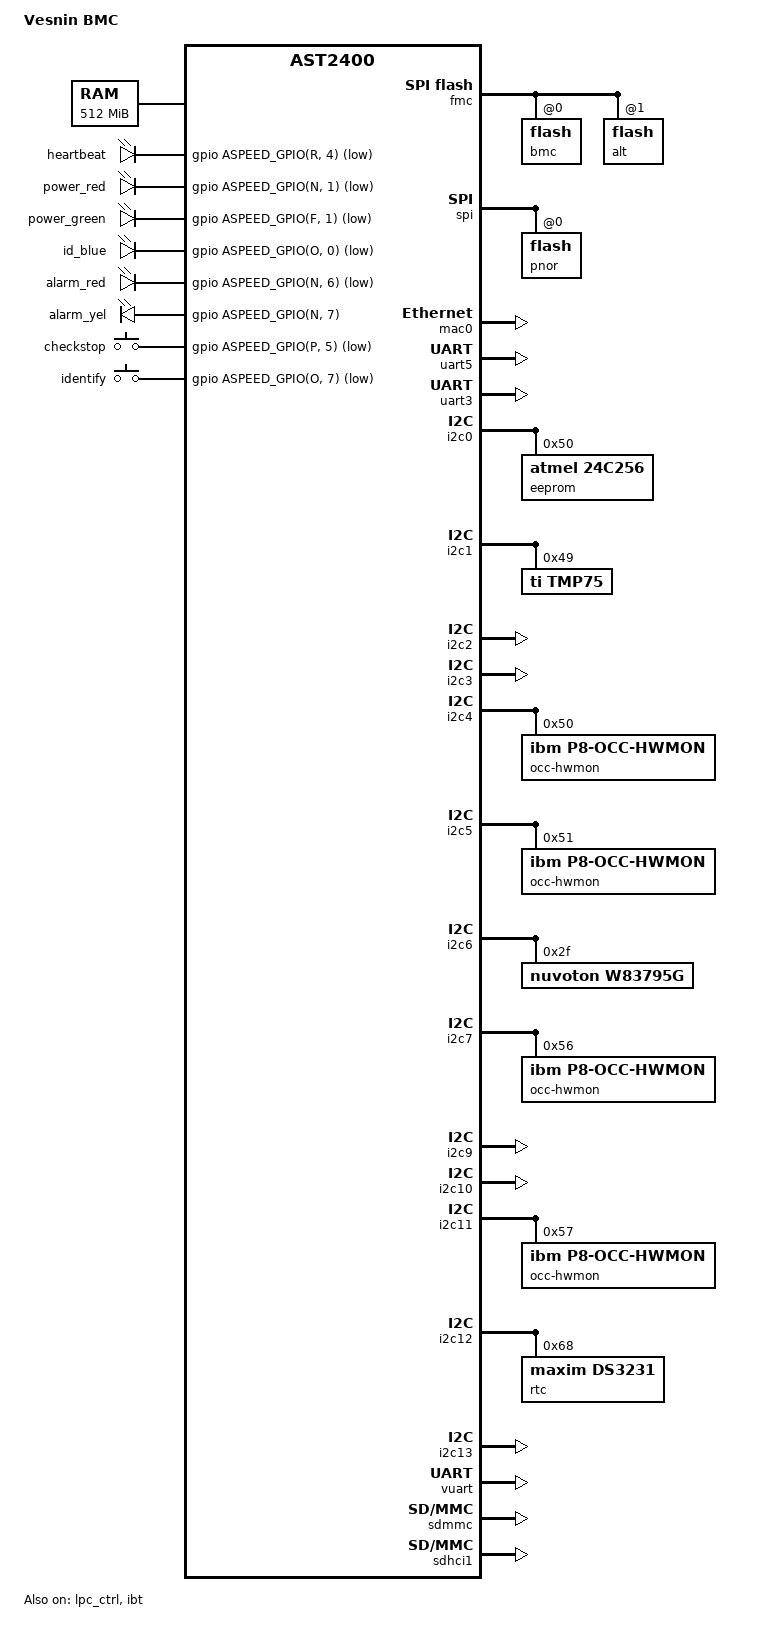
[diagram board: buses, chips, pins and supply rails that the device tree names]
// SPDX-License-Identifier: GPL-2.0+
// Copyright 2019 YADRO
/dts-v1/;

#include "aspeed-g4.dtsi"
#include <dt-bindings/gpio/aspeed-gpio.h>

/ {
	model = "Vesnin BMC";
	compatible = "yadro,vesnin-bmc", "aspeed,ast2400";

	chosen {
		stdout-path = &uart5;
		bootargs = "console=ttyS4,115200 earlycon";
	};

	memory@40000000 {
		reg = <0x40000000 0x20000000>;
	};

	reserved-memory {
		#address-cells = <1>;
		#size-cells = <1>;
		ranges;

		vga_memory: framebuffer@5f000000 {
			no-map;
			reg = <0x5f000000 0x01000000>; /* 16MB */
		};
		flash_memory: region@5c000000 {
			no-map;
			reg = <0x5c000000 0x02000000>; /* 32M */
		};
	};

	leds {
		compatible = "gpio-leds";

		heartbeat {
			gpios = <&gpio ASPEED_GPIO(R, 4) GPIO_ACTIVE_LOW>;
		};
		power_red {
			gpios = <&gpio ASPEED_GPIO(N, 1) GPIO_ACTIVE_LOW>;
		};

		power_green {
			gpios = <&gpio ASPEED_GPIO(F, 1) GPIO_ACTIVE_LOW>;
		};

		id_blue {
			gpios = <&gpio ASPEED_GPIO(O, 0) GPIO_ACTIVE_LOW>;
		};

		alarm_red {
			gpios = <&gpio ASPEED_GPIO(N, 6) GPIO_ACTIVE_LOW>;
		};

		alarm_yel {
			gpios = <&gpio ASPEED_GPIO(N, 7) GPIO_ACTIVE_HIGH>;
		};
	};

	gpio-keys {
		compatible = "gpio-keys";

		event-checkstop {
			label = "checkstop";
			linux,code = <74>;
			gpios = <&gpio ASPEED_GPIO(P, 5) GPIO_ACTIVE_LOW>;
		};

		event-identify {
			label = "identify";
			linux,code = <152>;
			gpios = <&gpio ASPEED_GPIO(O, 7) GPIO_ACTIVE_LOW>;
		};
	};
};

&fmc {
	status = "okay";
	flash@0 {
		status = "okay";
		m25p,fast-read;
        label = "bmc";
#include "openbmc-flash-layout.dtsi"
	};

	flash@1 {
		status = "okay";
		m25p,fast-read;
		label = "alt";
	};
};

&spi {
	status = "okay";
	pinctrl-names = "default";
	pinctrl-0 = <&pinctrl_spi1debug_default>;

	flash@0 {
		status = "okay";
		label = "pnor";
		m25p,fast-read;
	};
};

&mac0 {
	status = "okay";
	use-ncsi;
	pinctrl-names = "default";
	pinctrl-0 = <&pinctrl_rmii1_default>;
};


&uart5 {
	status = "okay";
};

&lpc_ctrl {
	status = "okay";
	memory-region = <&flash_memory>;
	flash = <&spi>;
};

&ibt {
	status = "okay";
};

&uart3 {
	status = "okay";
	pinctrl-names = "default";
	pinctrl-0 = <&pinctrl_txd2_default &pinctrl_rxd2_default>;
};

&i2c0 {
	status = "okay";

	eeprom@50 {
		compatible = "atmel,24c256";
		reg = <0x50>;
		pagesize = <64>;
	};
};

&i2c1 {
	status = "okay";

	tmp75@49 {
		compatible = "ti,tmp75";
		reg = <0x49>;
	};
};

&i2c2 {
	status = "okay";
};

&i2c3 {
	status = "okay";
};

&i2c4 {
	status = "okay";

	occ-hwmon@50 {
		compatible = "ibm,p8-occ-hwmon";
		reg = <0x50>;
	};
};

&i2c5 {
	status = "okay";

	occ-hwmon@51 {
		compatible = "ibm,p8-occ-hwmon";
		reg = <0x51>;
	};
};

&i2c6 {
	status = "okay";

	w83795g@2f {
		compatible = "nuvoton,w83795g";
		reg = <0x2f>;
	};
};

&i2c7 {
	status = "okay";

	occ-hwmon@56 {
		compatible = "ibm,p8-occ-hwmon";
		reg = <0x56>;
	};
};

&i2c9 {
	status = "okay";
};

&i2c10 {
	status = "okay";
};

&i2c11 {
	status = "okay";

	occ-hwmon@57 {
		compatible = "ibm,p8-occ-hwmon";
		reg = <0x57>;
	};
};

&i2c12 {
	status = "okay";

	rtc@68 {
		compatible = "maxim,ds3231";
		reg = <0x68>;
	};
};

&i2c13 {
	status = "okay";
};

&vuart {
	status = "okay";
};

&wdt2 {
	aspeed,alt-boot;
};

&sdmmc {
	status = "okay";
};

&sdhci1 {
	status = "okay";

	pinctrl-names = "default";
	pinctrl-0 = <&pinctrl_sd2_default>;
	cd-inverted;
	disable-wp;
};
